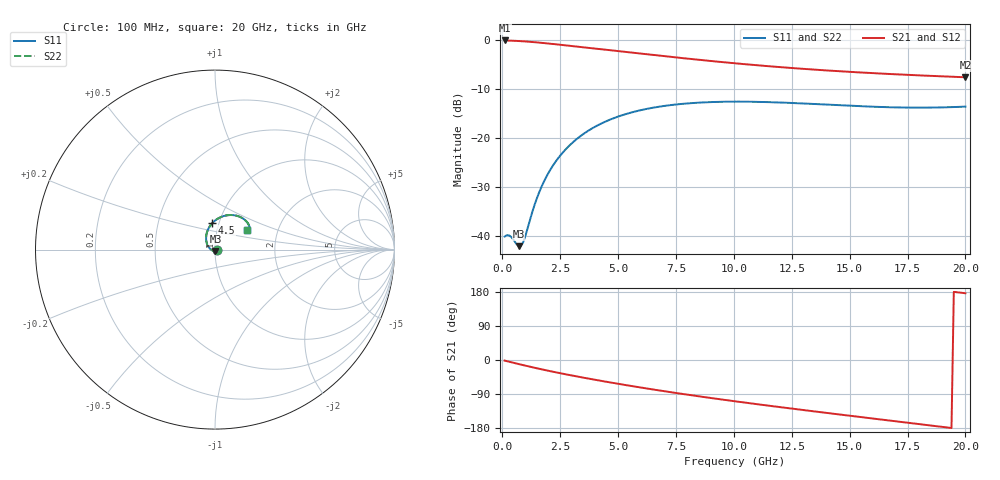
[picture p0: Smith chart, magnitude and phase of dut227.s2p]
! Touchstone file exported from HFSS 2024.1.0
!  File:  C:/UserFiles/LocalFiles/RDL_TSV_Batchsim/temp_RDL_TSV_227_1779450900.aedt
!  Generated:  08:07:51 PM May 22, 2026
!  Design:  RDL_TSV
!  Project:  temp_RDL_TSV_227_1779450900
!  Setup:  Setup1
!  Solution:  Sweep
! Variables:
!  dtsv = 9.24um
!  hbump = 3um
!  htsv = 57.81um
!  ldown = 173.11um
!  lrdl = 598.63um
!  p = 40
!  p1 = 45.62um
!  rhole = 10um
!  subl = 2913.85um
!  t = 450um
!  tdown = 3.37um
!  trdl = 4.78um
!  viad = 10um
!  wdown = 20.73um
!  wrdl = 29.24um
!  xbump = 18um
# GHz S MA R 50.000000
! Terminal data exported
! Port[1] = TM1_1_T1
! Port[2] = TM1_4_T1
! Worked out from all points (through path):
!   200 points, 100 MHz to 20 GHz, reference 50 ohm
!   highest |S21| = -0.09 dB at 100 MHz (marker M1); lowest = -7.6 dB at 20 GHz (marker M2)
!   group delay of S21, straight-line fit = 24.3 ps
!   lowest |S11| = -42.0 dB at 700 MHz (marker M3), VSWR 1.02, Z = 50.2 - j0.764 ohm
!   |S11| at or under -10 dB: start of sweep to end of sweep
!   |S22| runs from -42.0 to -12.6 dB; largest |S21 - S12| = 9.8e-15
!   S11 on the Smith chart (normalised r, x): 100 MHz: 1.02, -0.00; 4.5 GHz: 0.93, +0.28; 20 GHz: 1.39, +0.32
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0.1  0.00989 -2.6  0.9897 -1.6  0.9897 -1.6  0.00989 -2.6
! Gamma 0 0 0 0
! Port Impedance 50 0 50 0
0.3  0.01017 -18.2  0.9863 -4.7  0.9863 -4.7  0.01017 -18.2
0.7  0.007901 -74.4  0.977 -10.6  0.977 -10.6  0.0079 -74.4
0.8  0.007909 -95.3  0.9739 -12.1  0.9739 -12.1  0.007908 -95.3
0.9  0.00863 -116.3  0.9706 -13.5  0.9706 -13.5  0.008629 -116.3
1  0.0101 -134.7  0.967 -15.0  0.967 -15.0  0.0101 -134.7
1.3  0.01778 -170.4  0.9547 -19.2  0.9547 -19.2  0.01778 -170.4
1.5  0.02454 175.4  0.9455 -21.9  0.9455 -21.9  0.02454 175.4
1.7  0.03209 164.8  0.9359 -24.6  0.9359 -24.6  0.03209 164.8
2  0.04438 152.4  0.9207 -28.6  0.9207 -28.6  0.04438 152.3
2.3  0.05738 142.3  0.9051 -32.4  0.9051 -32.4  0.05737 142.3
2.7  0.07515 131.1  0.8842 -37.3  0.8842 -37.3  0.07514 131.1
3.5  0.11 113.1  0.843 -46.6  0.843 -46.6  0.11 113.1
4.5  0.1489 95.6  0.794 -57.5  0.794 -57.5  0.1489 95.6
5.6  0.183 80.3  0.7434 -68.9  0.7434 -68.9  0.183 80.3
6.8  0.2095 66.9  0.6922 -80.5  0.6922 -80.5  0.2094 66.9
8.4  0.2292 52.9  0.6316 -95.1  0.6316 -95.1  0.2291 52.9
10.1  0.2352 41.9  0.5774 -109.4  0.5774 -109.4  0.2352 41.9
11.7  0.2318 34.6  0.5358 -122.1  0.5358 -122.1  0.2318 34.7
13.4  0.223 29.8  0.5003 -135.1  0.5003 -135.1  0.2231 29.8
16.7  0.2063 28.0  0.4506 -159.6  0.4506 -159.6  0.2064 28.1
20  0.2093 32.3  0.4169 176.1  0.4169 176.1  0.2095 32.3
